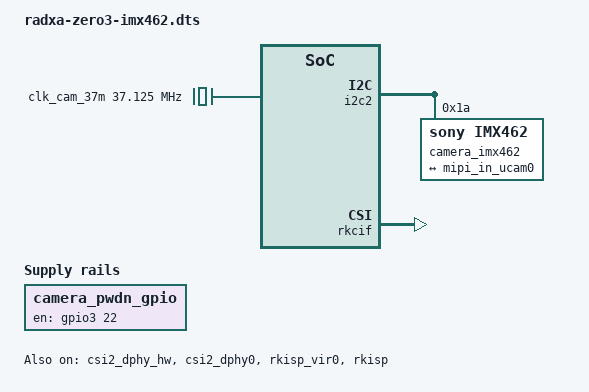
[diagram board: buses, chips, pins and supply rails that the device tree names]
// SPDX-License-Identifier: GPL-2.0
/*
 * Waveshare IMX462 (Raspberry Pi style, 2-lane MIPI) on the Radxa ZERO 3W/3E
 * 22-pin camera connector, through rkisp (ISP) for rkaiq.
 *
 * Derived from radxa-zero3-rpi-camera-v2.dts (radxa-pkg/radxa-overlays,
 * GPL-2.0). Changes: sensor node (sony,imx462 at 0x1a), 37.125 MHz module
 * crystal, module/lens names that pick the IQ file
 * /etc/iqfiles/imx462_WS-IMX462-A_default.json.
 *
 * No #include, so plain dtc builds it: 0 = GPIO_ACTIVE_HIGH,
 * 22 = RK_PC6 (GPIO3_C6, connector pin 17, the module's power enable).
 *
 * If the crystal on the module reads 74.250 instead of 37.125, change
 * clock-frequency to 74250000; the driver supports both.
 */
/dts-v1/;
/plugin/;

/ {
	metadata {
		title = "Enable Waveshare IMX462 camera";
		compatible = "radxa,zero3";
		category = "camera";
		exclusive = "csi2_dphy0";
		description = "Enable a Raspberry Pi style IMX462 camera (2-lane, 37.125 MHz crystal) through the ISP.";
	};
};

&{/} {
	clk_cam_37m: external-camera-clock-37m {
		status = "okay";
		compatible = "fixed-clock";
		clock-frequency = <37125000>;
		clock-output-names = "clk_cam_37m";
		#clock-cells = <0>;
	};

	camera_pwdn_gpio: camera-pwdn-gpio {
		status = "okay";
		compatible = "regulator-fixed";
		regulator-name = "camera_pwdn_gpio";
		regulator-always-on;
		regulator-boot-on;
		enable-active-high;
		gpio = <&gpio3 22 0>;
	};
};

&i2c2 {
	status = "okay";
	pinctrl-names = "default";
	pinctrl-0 = <&i2c2m1_xfer>;
	#address-cells = <1>;
	#size-cells = <0>;

	camera_imx462: camera-imx462@1a {
		status = "okay";
		compatible = "sony,imx462";
		reg = <0x1a>;
		clocks = <&clk_cam_37m>;
		clock-names = "xvclk";
		rockchip,camera-module-index = <0>;
		rockchip,camera-module-facing = "back";
		rockchip,camera-module-name = "WS-IMX462-A";
		rockchip,camera-module-lens-name = "default";

		port {
			ucam_out0: endpoint {
				remote-endpoint = <&mipi_in_ucam0>;
				data-lanes = <1 2>;
			};
		};
	};
};

&csi2_dphy_hw {
	status = "okay";
};

&csi2_dphy0 {
	status = "okay";

	ports {
		#address-cells = <1>;
		#size-cells = <0>;

		port@0 {
			reg = <0>;
			#address-cells = <1>;
			#size-cells = <0>;

			mipi_in_ucam0: endpoint@1 {
				reg = <1>;
				remote-endpoint = <&ucam_out0>;
				data-lanes = <1 2>;
			};
		};

		port@1 {
			reg = <1>;
			#address-cells = <1>;
			#size-cells = <0>;

			dphy0_out: endpoint@1 {
				reg = <1>;
				remote-endpoint = <&isp0_in>;
			};
		};
	};
};

&rkisp_vir0 {
	status = "okay";

	port {
		#address-cells = <1>;
		#size-cells = <0>;

		isp0_in: endpoint@0 {
			reg = <0>;
			remote-endpoint = <&dphy0_out>;
		};
	};
};

&rkisp {
	status = "okay";
};

&rkisp_mmu {
	status = "okay";
};

&rkcif_mmu {
	status = "okay";
};

&rkcif {
	status = "okay";
};
